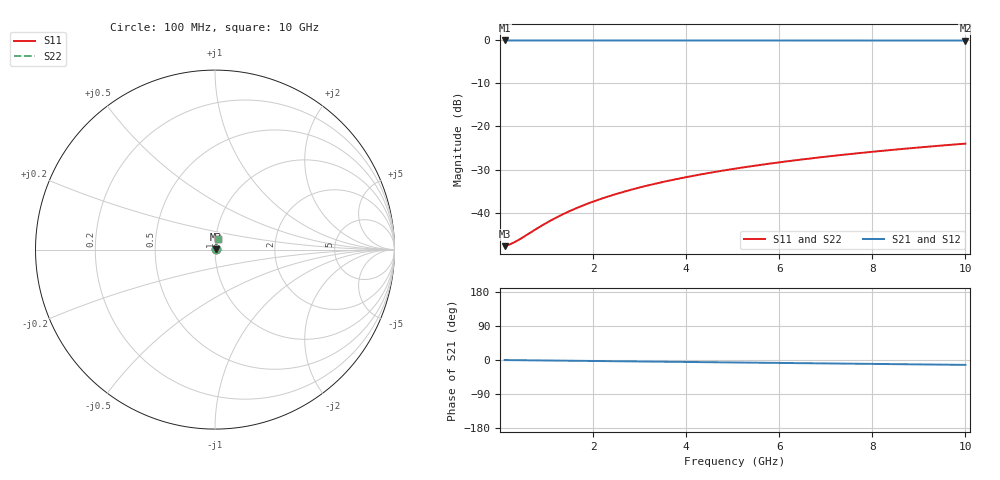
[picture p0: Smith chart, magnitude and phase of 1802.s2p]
# Hz S RI R 50.00
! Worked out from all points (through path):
!   100 points, 100 MHz to 10 GHz, reference 50 ohm
!   highest |S21| = -0.04 dB at 100 MHz (marker M1); lowest = -0.1 dB at 10 GHz (marker M2)
!   group delay of S21, straight-line fit = 3.58 ps
!   lowest |S11| = -47.8 dB at 100 MHz (marker M3), VSWR 1.01, Z = 50.4 + j0.0633 ohm
!   |S11| at or under -10 dB: start of sweep to end of sweep
!   |S22| runs from -47.8 to -24.0 dB; largest |S21 - S12| = 0
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1e8  0.00403 0.000628  0.996 -0.00224  0.996 -0.00224  0.00403 0.000628
2e8  0.00406 0.00126  0.9959 -0.00448  0.9959 -0.00448  0.00406 0.00126
3e8  0.00409 0.00188  0.9959 -0.00672  0.9959 -0.00672  0.00409 0.00188
4e8  0.00412 0.00251  0.9959 -0.00896  0.9959 -0.00896  0.00412 0.00251
9e8  0.00426 0.00565  0.9956 -0.0202  0.9956 -0.0202  0.00426 0.00565
1.2e9  0.00437 0.00753  0.9954 -0.0269  0.9954 -0.0269  0.00437 0.00753
1.5e9  0.00451 0.00941  0.9952 -0.0336  0.9952 -0.0336  0.00451 0.00941
1.8e9  0.00466 0.0113  0.9949 -0.0403  0.9949 -0.0403  0.00466 0.0113
2.1e9  0.00484 0.0132  0.9945 -0.047  0.9945 -0.047  0.00484 0.0132
2.5e9  0.00512 0.0157  0.994 -0.0559  0.994 -0.0559  0.00512 0.0157
2.9e9  0.00544 0.0181  0.9934 -0.0649  0.9934 -0.0649  0.00544 0.0181
3.4e9  0.00591 0.0212  0.9925 -0.076  0.9925 -0.076  0.00591 0.0212
3.8e9  0.00633 0.0237  0.9917 -0.085  0.9917 -0.085  0.00633 0.0237
4.2e9  0.00679 0.0262  0.9908 -0.0939  0.9908 -0.0939  0.00679 0.0262
4.6e9  0.0073 0.0286  0.9899 -0.1028  0.9899 -0.1028  0.0073 0.0286
5.1e9  0.008 0.0317  0.9885 -0.1139  0.9885 -0.1139  0.008 0.0317
5.9e9  0.00926 0.0366  0.9861 -0.1316  0.9861 -0.1316  0.00926 0.0366
6.7e9  0.0107 0.0414  0.9834 -0.1493  0.9834 -0.1493  0.0107 0.0414
7.5e9  0.0123 0.0461  0.9803 -0.1669  0.9803 -0.1669  0.0123 0.0461
8.4e9  0.0143 0.0514  0.9764 -0.1866  0.9764 -0.1866  0.0143 0.0514
9.2e9  0.0163 0.056  0.9726 -0.204  0.9726 -0.204  0.0163 0.056
1e10  0.0184 0.0605  0.9684 -0.2214  0.9684 -0.2214  0.0184 0.0605
